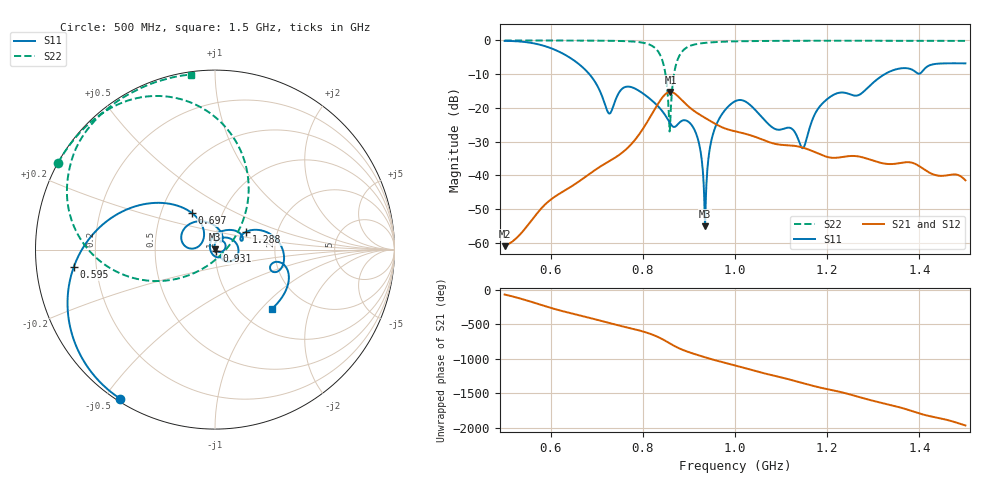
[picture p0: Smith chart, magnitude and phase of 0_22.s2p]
! TOUCHSTONE file generated by CST MICROWAVE STUDIO
! Date and time: Sat Oct 24 11:15:29 2020
! Project name: Scenario_1_Circular_Tissue_in_Line.cst
! Parameters = {L_HA=400; MT=2.54; Rad_Dielectric=30; Rad_Lower=7.3; Rad_Upper=30; a_HA=580; a_WG=246; b_HA=500; b_WG=121; c_HA=0; c_WG=187; d_feed=85; dx1=536.72; h_feed=15; h_lower=18; h_upper=40}
! Header version: 2018
! Port assignment regex: !\s*Touchstone port\s*([0-9]+)\s*=\s*(CST MWS port|CST DS port)\s*([0-9]+|Zmin|Zmax)\s*\(\"(.*)\"\)(\s*mode\s*([0-9]+))?.*
! Touchstone port assignment:
! Touchstone port 1 = CST MWS port 1 ("")
! Touchstone port 2 = CST MWS port 2 ("")
# GHz S DB R 50
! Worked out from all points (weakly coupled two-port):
!   1003 points, 500 MHz to 1.5 GHz, reference 50 ohm
!   highest |S21| = -15.25 dB at 860 MHz (marker M1); lowest = -60.9 dB at 500 MHz (marker M2)
!   lowest |S11| = -55.1 dB at 935 MHz (marker M3), VSWR 1.00, Z = 50.2 + j0.0915 ohm
!   |S11| at or under -10 dB: 684 MHz to 1.325 GHz (640.8 MHz wide, 63.8 % of centre)
!   |S22| runs from -27.0 to 0.0 dB; largest |S21 - S12| = 4.5e-05
!   S11 on the Smith chart (normalised r, x): 500 MHz: 0.01, -0.55; 595 MHz: 0.12, -0.06; 697 MHz: 0.72, +0.31; 931 MHz: 1.01, -0.01; 1.288 GHz: 1.38, +0.29; 1.5 GHz: 1.37, -1.15
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0.5  -0.14 -122.5  -60.94 -69.4  -60.94 -69.4  -0.01 151.1
0.595  -2.02 -173.1  -47.71 107.9  -47.71 107.8  -0.02 144.5
0.667  -7.67 140.9  -41.22 -18.3  -41.22 -18.3  -0.04 138.3
0.697  -12.44 122.1  -38.31 -70.0  -38.31 -70.0  -0.06 135.1
0.727  -21.66 148.8  -35.77 -123.3  -35.77 -123.3  -0.10 131.2
0.766  -13.67 149.9  -31.96 173.3  -31.96 173.3  -0.23 124.0
0.834  -19.65 72.3  -18.55 31.5  -18.55 31.5  -3.44 84.0
0.86  -24.70 51.8  -15.25 -63.6  -15.25 -63.6  -22.42 -104.2
0.876  -24.83 57.0  -16.50 -121.0  -16.50 -121.0  -5.50 -164.8
0.91  -25.93 -3.6  -20.76 152.6  -20.76 152.6  -1.28 162.2
0.924  -31.89 -31.4  -22.03 123.1  -22.03 123.1  -0.91 156.1
0.931  -40.24 -39.9  -22.61 108.7  -22.61 108.7  -0.78 153.7
0.935  -55.10 31.3  -22.94 100.6  -22.94 100.6  -0.73 152.5
0.955  -26.54 81.1  -24.54 61.6  -24.54 61.6  -0.51 147.7
1  -18.02 13.0  -26.91 -17.3  -26.91 -17.3  -0.27 140.1
1.123  -26.12 -59.9  -31.13 130.2  -31.13 130.2  -0.11 127.7
1.146  -31.89 -152.3  -31.70 88.0  -31.70 88.0  -0.10 125.8
1.167  -23.84 104.5  -32.71 50.4  -32.71 50.4  -0.09 124.1
1.211  -16.32 44.1  -34.76 -16.4  -34.76 -16.4  -0.09 120.7
1.288  -14.01 29.8  -35.07 -150.4  -35.07 -150.4  -0.08 114.9
1.334  -9.34 11.1  -36.61 134.4  -36.61 134.4  -0.08 111.4
1.5  -6.79 -46.3  -41.43 -168.1  -41.40 -167.9  -0.14 97.8
